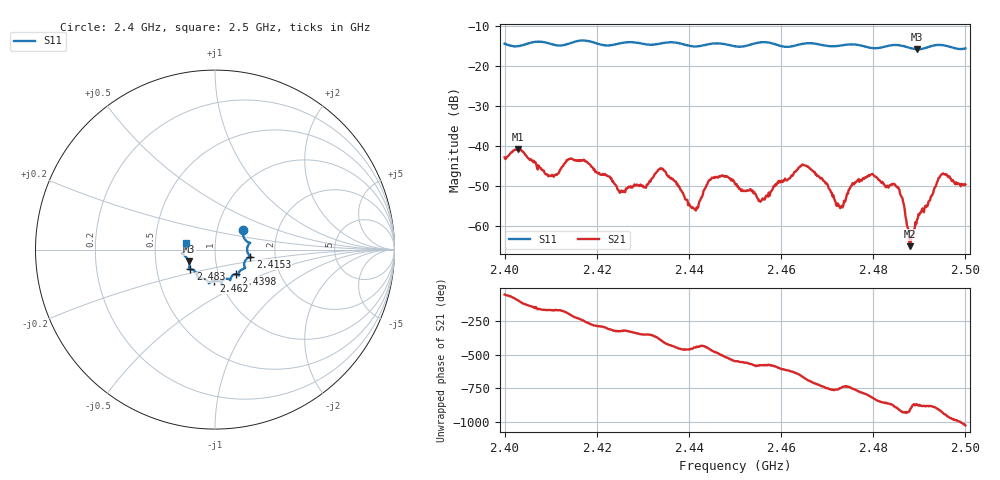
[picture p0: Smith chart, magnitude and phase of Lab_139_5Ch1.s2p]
# Hz S RI R
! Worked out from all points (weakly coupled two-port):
!   601 points, 2.4 GHz to 2.5 GHz, reference 50 ohm
!   highest |S21| = -40.75 dB at 2.4028 GHz (marker M1); lowest = -65.0 dB at 2.488 GHz (marker M2)
!   lowest |S11| = -15.9 dB at 2.4895 GHz (marker M3), VSWR 1.38, Z = 37 - j5 ohm
!   |S11| at or under -10 dB: start of sweep to end of sweep
!   S12 and S22 are empty: the file has one direction only
!   S11 on the Smith chart (normalised r, x): 2.4 GHz: 1.33, +0.29; 2.4153 GHz: 1.48, -0.12; 2.4398 GHz: 1.21, -0.34; 2.462 GHz: 0.93, -0.33; 2.483 GHz: 0.74, -0.17; 2.5 GHz: 0.72, +0.06
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2.4e9  0.1558 0.1066  0.00393 -0.00598  0 0  0 0
2.402833e9  0.1637 0.0616  -0.00117 -0.0091  0 0  0 0
2.409667e9  0.1875 0.0292  -0.00418 -0.000638  0 0  0 0
2.415333e9  0.1965 -0.0387  -0.00466 0.00466  0 0  0 0
2.416667e9  0.2021 -0.0427  -0.00292 0.0059  0 0  0 0
2.425333e9  0.1655 -0.0974  0.00225 0.0016  0 0  0 0
2.433333e9  0.1312 -0.1336  0.00475 -0.00166  0 0  0 0
2.439833e9  0.1151 -0.1363  -0.000403 -0.00177  0 0  0 0
2.445333e9  0.0847 -0.1695  -0.00182 -0.00353  0 0  0 0
2.45e9  0.0647 -0.1625  -0.0033 0.000507  0 0  0 0
2.455667e9  0.0376 -0.1925  -0.00162 0.00127  0 0  0 0
2.462e9  -0.00533 -0.1731  -0.000548 0.00393  0 0  0 0
2.466667e9  -0.0342 -0.1876  0.00476 0.00148  0 0  0 0
2.473e9  -0.0801 -0.1604  0.00157 -0.000735  0 0  0 0
2.479333e9  -0.1051 -0.1302  9.83e-05 -0.00434  0 0  0 0
2.483e9  -0.1376 -0.1094  -0.00246 -0.00202  0 0  0 0
2.483333e9  -0.14 -0.1093  -0.00238 -0.00185  0 0  0 0
2.485833e9  -0.1457 -0.1049  -0.00245 0.000525  0 0  0 0
2.488e9  -0.1421 -0.0863  -0.000559 2.69e-05  0 0  0 0
2.4895e9  -0.1462 -0.0659  -0.00103 -0.000609  0 0  0 0
2.494833e9  -0.1801 -0.0202  -0.00407 0.00168  0 0  0 0
2.5e9  -0.1598 0.0393  0.0018 0.00274  0 0  0 0
